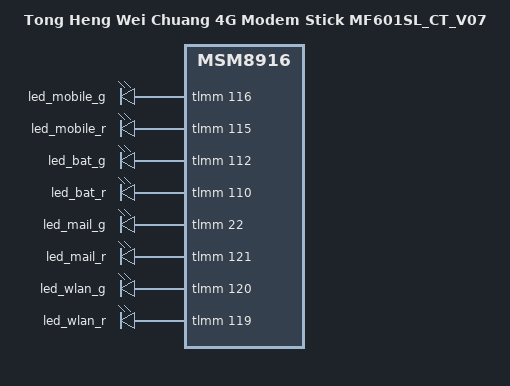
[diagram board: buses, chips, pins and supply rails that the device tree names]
// SPDX-License-Identifier: GPL-2.0-only
/* Also applies to MF601S_V2 */

/dts-v1/;

#include "msm8916-thwc-mf601xx.dtsi"

/ {
	model = "Tong Heng Wei Chuang 4G Modem Stick MF601SL_CT_V07";
	compatible = "thwc,mf601sl-v7", "qcom,msm8916";
};

&led_mobile_g {
	gpios = <&tlmm 116 GPIO_ACTIVE_HIGH>;
};

&led_mobile_r {
	gpios = <&tlmm 115 GPIO_ACTIVE_HIGH>;
};

&led_bat_g {
	gpios = <&tlmm 112 GPIO_ACTIVE_HIGH>;
};

&led_bat_r {
	gpios = <&tlmm 110 GPIO_ACTIVE_HIGH>;
};

&led_mail_g {
	gpios = <&tlmm 22 GPIO_ACTIVE_HIGH>;
};

&led_mail_r {
	gpios = <&tlmm 121 GPIO_ACTIVE_HIGH>;
};

&led_wlan_g {
	gpios = <&tlmm 120 GPIO_ACTIVE_HIGH>;
};

&led_wlan_r {
	gpios = <&tlmm 119 GPIO_ACTIVE_HIGH>;
};
